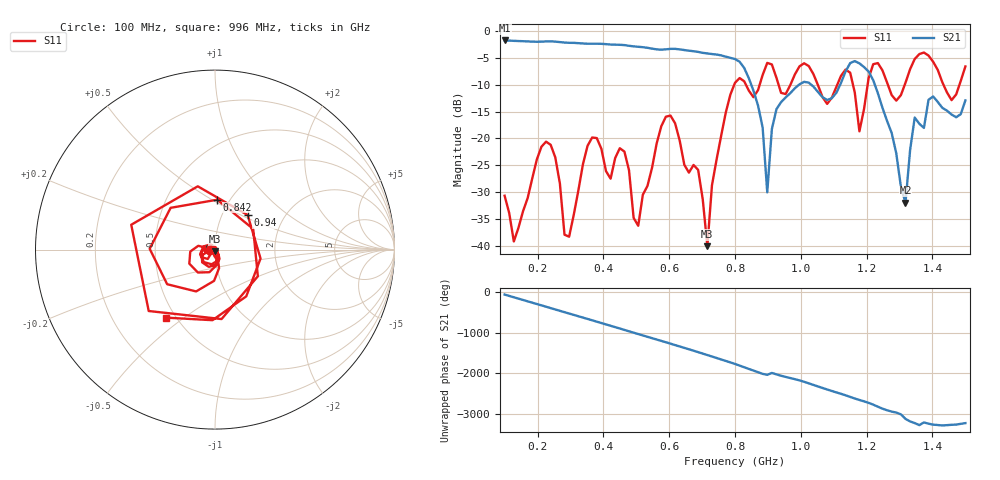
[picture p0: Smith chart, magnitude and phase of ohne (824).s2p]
! NanoVNA-App
! Date: 2025-09-25 14:27:13
! Start: 100MHz Stop: 1,5GHz Points: 101
! S-Parameter data: F S11 S21 S12 S22
# Hz S RI R 50
!  Frequency  S11_Real  S11_Imag  S21_Real  S21_Imag  S12_Real  S12_Imag  S22_Real  S22_Imag
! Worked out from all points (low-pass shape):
!   101 points, 100 MHz to 1.5 GHz, reference 50 ohm
!   highest |S21| = -1.79 dB at 100 MHz (marker M1); lowest = -32.0 dB at 1.318 GHz (marker M2)
!   |S21| within 3 dB of the highest: start of sweep to 771.5 MHz
!   lowest |S11| = -40.0 dB at 716 MHz (marker M3), VSWR 1.02, Z = 49.8 - j0.972 ohm
!   |S11| at or under -10 dB: start of sweep to 797.8 MHz; 833 MHz to 875.1 MHz (42.06 MHz wide, 4.93 % of centre); 1.051 GHz to 1.111 GHz (59.47 MHz wide, 5.5 % of centre) (the widest 3 of 7)
!   S12 and S22 are empty: the file has one direction only
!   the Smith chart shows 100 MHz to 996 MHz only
!   S11 on the Smith chart (normalised r, x): 100 MHz: 0.94, -0.01; 842 MHz: 0.88, +0.53; 940 MHz: 1.32, +0.55; 996 MHz: 0.44, -0.43
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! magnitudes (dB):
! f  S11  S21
! 100 MHz  -30.6  -1.8
! 128 MHz  -39.1  -1.9
! 226 MHz  -20.6  -2.0
! 296 MHz  -38.3  -2.2
! 338 MHz  -24.8  -2.4
! 464 MHz  -22.4  -2.7
! 506 MHz  -36.2  -3.0
! 576 MHz  -17.7  -3.5
! 688 MHz  -25.8  -3.9
! 716 MHz  -40.0  -4.2
! 800 MHz  -9.7  -5.2
! 842 MHz  -11.1  -8.8
! 898 MHz  -6.0  -30.0
! 940 MHz  -11.5  -13.3
! 996 MHz  -6.6  -9.9
! 1.038 GHz  -8.0  -10.3
! 1.178 GHz  -18.7  -6.0
! 1.22 GHz  -6.2  -9.2
! 1.276 GHz  -11.9  -19.0
! 1.318 GHz  -9.7  -32.0
! 1.346 GHz  -5.2  -16.1
! 1.5 GHz  -6.6  -12.9
